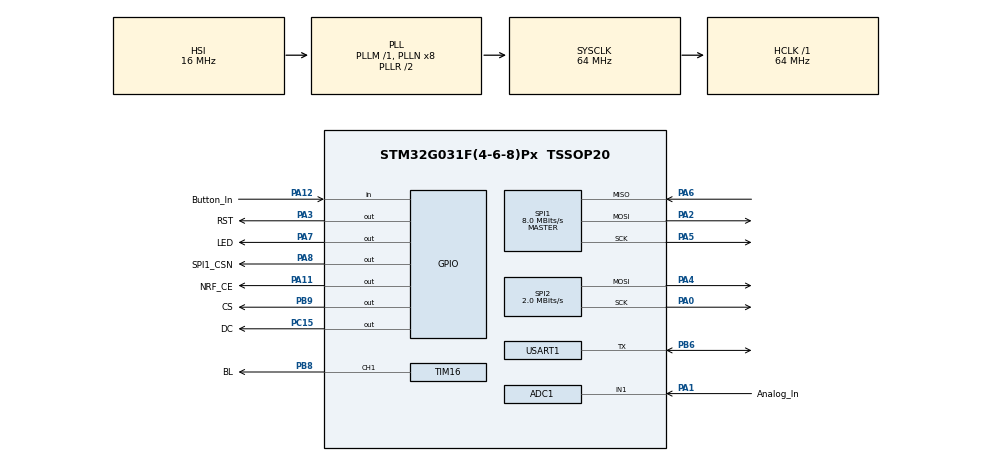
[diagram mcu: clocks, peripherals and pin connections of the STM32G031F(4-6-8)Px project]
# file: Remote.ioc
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ADC1.Channel-0\#ChannelRegularConversion=ADC_CHANNEL_1
ADC1.NbrOfConversionFlag=1
ADC1.Rank-0\#ChannelRegularConversion=1
ADC1.SamplingTime-0\#ChannelRegularConversion=ADC_SAMPLINGTIME_COMMON_1
ADC1.SelectedChannel=ADC_CHANNEL_1
ADC1.master=1
Mcu.Family=STM32G0
Mcu.Name=STM32G031F(4-6-8)Px
Mcu.Package=TSSOP20
NVIC.TIM2_IRQn=true\:0\:0\:false\:false\:true\:true\:true\:true
PA0.Mode=TX_Only_Simplex_Unidirect_Master
PA0.Signal=SPI2_SCK
PA1.GPIO_Label=Analog_In
PA1.Signal=SharedAnalog_PA1
PA11\ [PA9].GPIO_Label=NRF_CE
PA11\ [PA9].Signal=GPIO_Output
PA12\ [PA10].GPIO_Label=Button_In
PA12\ [PA10].Signal=GPIO_Input
PA13.Mode=Serial_Wire
PA13.Signal=SYS_SWDIO
PA14-BOOT0.Mode=Serial_Wire
PA14-BOOT0.Signal=SYS_SWCLK
PA14-BOOT0__PA15.StandardMode=true
PA2.Mode=Full_Duplex_Master
PA2.Signal=SPI1_MOSI
PA3.GPIO_Label=RST
PA3.Signal=GPIO_Output
PA4.Mode=TX_Only_Simplex_Unidirect_Master
PA4.Signal=SPI2_MOSI
PA5.Mode=Full_Duplex_Master
PA5.Signal=SPI1_SCK
PA6.Mode=Full_Duplex_Master
PA6.Signal=SPI1_MISO
PA7.GPIO_Label=LED
PA7.Signal=GPIO_Output
PA8.GPIO_Label=SPI1_CSN
PA8.Signal=GPIO_Output
PB0__PB1__PB2__PA8.StandardMode=true
PB3__PB4__PB5__PB6.StandardMode=true
PB6.Mode=Half_duplex(single_wire_mode)
PB6.Signal=USART1_TX
PB7__PB8.StandardMode=true
PB8.GPIO_Label=BL
PB8.Signal=S_TIM16_CH1
PB9.GPIO_Label=CS
PB9.Signal=GPIO_Output
PC14-OSC32_IN\ (PC14)__PB9.StandardMode=true
PC15-OSC32_OUT\ (PC15).GPIO_Label=DC
PC15-OSC32_OUT\ (PC15).Signal=GPIO_Output
ProjectManager.HeapSize=0x200
ProjectManager.StackSize=0x400
ProjectManager.TargetToolchain=STM32CubeIDE
RCC.ADCFreq_Value=64000000
RCC.AHBFreq_Value=64000000
RCC.CortexFreq_Value=64000000
RCC.EXTERNAL_CLOCK_VALUE=12288000
RCC.HCLKFreq_Value=64000000
RCC.HSE_VALUE=8000000
RCC.HSI_VALUE=16000000
RCC.LSE_VALUE=32768
RCC.SYSCLKFreq_VALUE=64000000
RCC.SYSCLKSource=RCC_SYSCLKSOURCE_PLLCLK
RCC.VCOOutputFreq_Value=128000000
SH.S_TIM16_CH1.0=TIM16_CH1,PWM Generation1 CH1
SH.SharedAnalog_PA1.0=GPIO_Analog
SH.SharedAnalog_PA1.1=ADC1_IN1,IN1
SPI1.BaudRatePrescaler=SPI_BAUDRATEPRESCALER_8
SPI1.CalculateBaudRate=8.0 MBits/s
SPI1.Direction=SPI_DIRECTION_2LINES
SPI1.Mode=SPI_MODE_MASTER
SPI1.VirtualType=VM_MASTER
SPI2.BaudRatePrescaler=SPI_BAUDRATEPRESCALER_32
SPI2.CalculateBaudRate=2.0 MBits/s
SPI2.Direction=SPI_DIRECTION_2LINES
SPI2.Mode=SPI_MODE_MASTER
SPI2.VirtualType=VM_MASTER
TIM16.AutoReloadPreload=TIM_AUTORELOAD_PRELOAD_ENABLE
TIM16.Channel=TIM_CHANNEL_1
TIM16.Period=1000-1
TIM16.Prescaler=300-1
TIM2.Period=100-1
TIM2.Prescaler=6400-1
USART1.VirtualMode-Half_duplex(single_wire_mode)=VM_ASYNC
VP_TIM16_VS_ClockSourceINT.Mode=Enable_Timer
VP_TIM2_VS_ClockSourceINT.Mode=Internal
board=custom

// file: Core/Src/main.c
/* USER CODE BEGIN Header */
/**
  ******************************************************************************
  * @file           : main.c
  * @brief          : Main program body
  ******************************************************************************
  * @attention
  *
  * Copyright (c) 2024 STMicroelectronics.
  * All rights reserved.
  *
  * This software is licensed under terms that can be found in the LICENSE file
  * in the root directory of this software component.
  * If no LICENSE file comes with this software, it is provided AS-IS.
  *
  ******************************************************************************
  */
/* USER CODE END Header */
#include "main.h"
#include "adc.h"
#include "spi.h"
#include "tim.h"
#include "usart.h"
#include "gpio.h"

/* USER CODE BEGIN Includes */
#include "NRF24L01.h"
#include <stdio.h>
#include "GUI_Paint.h"
#include "fonts.h"
#include "LCD_Test.h"
#include "LCD_1in28.h"

/* USER CODE END Includes */

/* USER CODE BEGIN PV */

static uint8_t adc_trans_task = 0;
static uint32_t adc_val = 3300;

/* USER CODE END PV */

void SystemClock_Config(void);

int main(void)
{

  /* MCU Configuration--------------------------------------------------------*/

  /* Reset of all peripherals, Initializes the Flash interface and the Systick. */
  HAL_Init();

  /* Configure the system clock */
  SystemClock_Config();

  /* Initialize all configured peripherals */
  MX_GPIO_Init();
  MX_ADC1_Init();
  MX_USART1_UART_Init();
  MX_SPI1_Init();
  MX_TIM16_Init();
  MX_TIM2_Init();
  MX_SPI2_Init();
  /* USER CODE BEGIN 2 */

  uint8_t TX_addr[] = {0xEE, 0xDD, 0xCC, 0xBB, 0xAA};
  uint8_t RX_addr[] = {0x99, 0x88, 0x77, 0x66, 0x55};

  uint32_t counter = 0;
  HAL_GPIO_WritePin(LED_GPIO_Port, LED_Pin, GPIO_PIN_SET);

  nrf_init();

  nrf_tx_mode(TX_addr, 10);

	DEV_Module_Init();

	LCD_1IN28_SetBackLight(1000);
	LCD_1IN28_Init(VERTICAL);
	//LCD_1IN28_Clear(BLACK);

	Paint_NewImage(LCD_1IN28_WIDTH,LCD_1IN28_HEIGHT, 0, BLACK);

	Paint_SetClearFuntion(LCD_1IN28_Clear);
	Paint_SetDisplayFuntion(LCD_1IN28_DrawPaint);
	Paint_DrawString_EN(70, 100, "LOADING...", &Font16, BLACK, DARKORANGE);

	Paint_Clear(WHITE);
	DEV_Delay_ms(100);

	Paint_DrawRectangle(115, 115, 136, 141, DARKRED, 2, 0);
	Paint_DrawNum(120, 120, counter, &Font16, DARKBLUE, DARKGREEN);

  //Setup the interrupt last
  HAL_TIM_Base_Start_IT(&htim2);

  uint8_t RX_data[32] = {0};

  /* USER CODE END 2 */

  /* Infinite loop */
  /* USER CODE BEGIN WHILE */
  while (1)
  {
//	  // NRF Transmission Code
//	  HAL_Delay(500);
//	  int trans_stat = nrf_transmit(TX_data);
//	  if( trans_stat == 1){
//		  HAL_GPIO_WritePin(LED_GPIO_Port, LED_Pin, GPIO_PIN_SET);
//
//	  }
//	  HAL_Delay(500);
//	  HAL_GPIO_WritePin(LED_GPIO_Port, LED_Pin, GPIO_PIN_RESET);
//	  TX_data[6]++;

	Paint_ClearWindows(120, 100, 164, 116, BLACK);
	Paint_DrawNum(120, 120, adc_val, &Font16, DARKBLUE, DARKGREEN);
//	counter++;
//	HAL_Delay(250);

	if(HAL_GPIO_ReadPin(Button_In_GPIO_Port, Button_In_Pin) == 0){
		while(1){
			nrf_send_adc(3300);
		}

	}

	/*Code for receiving data over NRF*/
//	nrf_rx_mode(RX_addr, 10);
//	if(is_data_availible(1) == 1){
//	  nrf_receive(RX_data);
//	  HAL_GPIO_TogglePin(LED_GPIO_Port, LED_Pin);

//	HAL_Delay(250);

    /* USER CODE END WHILE */

  }
}

void SystemClock_Config(void)
{
  RCC_OscInitTypeDef RCC_OscInitStruct = {0};
  RCC_ClkInitTypeDef RCC_ClkInitStruct = {0};

  /** Configure the main internal regulator output voltage
  */
  HAL_PWREx_ControlVoltageScaling(PWR_REGULATOR_VOLTAGE_SCALE1);

  /** Initializes the RCC Oscillators according to the specified parameters
  * in the RCC_OscInitTypeDef structure.
  */
  RCC_OscInitStruct.OscillatorType = RCC_OSCILLATORTYPE_HSI;
  RCC_OscInitStruct.HSIState = RCC_HSI_ON;
  RCC_OscInitStruct.HSIDiv = RCC_HSI_DIV1;
  RCC_OscInitStruct.HSICalibrationValue = RCC_HSICALIBRATION_DEFAULT;
  RCC_OscInitStruct.PLL.PLLState = RCC_PLL_ON;
  RCC_OscInitStruct.PLL.PLLSource = RCC_PLLSOURCE_HSI;
  RCC_OscInitStruct.PLL.PLLM = RCC_PLLM_DIV1;
  RCC_OscInitStruct.PLL.PLLN = 8;
  RCC_OscInitStruct.PLL.PLLP = RCC_PLLP_DIV2;
  RCC_OscInitStruct.PLL.PLLQ = RCC_PLLQ_DIV2;
  RCC_OscInitStruct.PLL.PLLR = RCC_PLLR_DIV2;
  if (HAL_RCC_OscConfig(&RCC_OscInitStruct) != HAL_OK)
  {
    Error_Handler();
  }

  /** Initializes the CPU, AHB and APB buses clocks
  */
  RCC_ClkInitStruct.ClockType = RCC_CLOCKTYPE_HCLK|RCC_CLOCKTYPE_SYSCLK
                              |RCC_CLOCKTYPE_PCLK1;
  RCC_ClkInitStruct.SYSCLKSource = RCC_SYSCLKSOURCE_PLLCLK;
  RCC_ClkInitStruct.AHBCLKDivider = RCC_SYSCLK_DIV1;
  RCC_ClkInitStruct.APB1CLKDivider = RCC_HCLK_DIV1;

  if (HAL_RCC_ClockConfig(&RCC_ClkInitStruct, FLASH_LATENCY_2) != HAL_OK)
  {
    Error_Handler();
  }
}

/* USER CODE BEGIN 4 */
// Callback: timer has rolled over
void HAL_TIM_PeriodElapsedCallback(TIM_HandleTypeDef *htim)
{

  if (htim == &htim2 ){
	//Code to run for TIM2 IRQuint32_t adc_val = 0;
	HAL_ADC_Start(&hadc1);
	HAL_ADC_PollForConversion(&hadc1, HAL_MAX_DELAY);
	adc_val = HAL_ADC_GetValue(&hadc1);

	//NRF Transmission Code
	int trans_stat = nrf_send_adc(adc_val);

  }
}

/* USER CODE END 4 */

void Error_Handler(void)
{
  __disable_irq();
  while (1)
  {
  }
}
